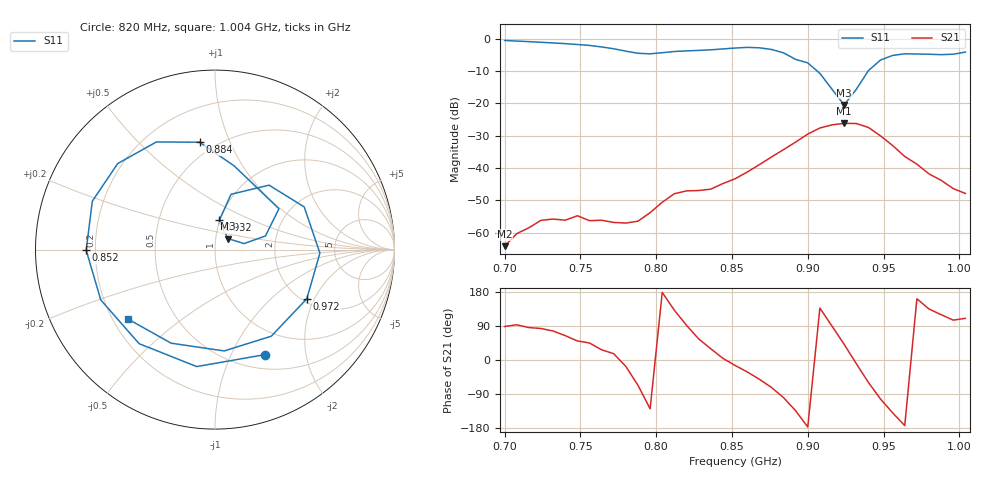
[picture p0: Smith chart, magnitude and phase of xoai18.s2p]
# Hz S RI R 50
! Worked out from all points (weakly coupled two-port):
!   39 points, 700 MHz to 1.004 GHz, reference 50 ohm
!   highest |S21| = -26.17 dB at 924 MHz (marker M1); lowest = -64.2 dB at 700 MHz (marker M2)
!   lowest |S11| = -20.5 dB at 924 MHz (marker M3), VSWR 1.21, Z = 57.3 + j7.08 ohm
!   |S11| at or under -10 dB: 906.2 MHz to 939.8 MHz (33.58 MHz wide, 3.64 % of centre)
!   S12 and S22 are empty: the file has one direction only
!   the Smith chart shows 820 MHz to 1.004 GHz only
!   S11 on the Smith chart (normalised r, x): 820 MHz: 0.67, -1.36; 852 MHz: 0.16, -0.00; 884 MHz: 0.41, +0.78; 932 MHz: 0.99, +0.33; 972 MHz: 2.12, -1.75; 1.004 GHz: 0.26, -0.33
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7e8  0.7578 0.5559  1.7e-05 0.000619  0 0  0 0
7.24e8  0.846 -0.2459  0.000186 0.00154  0 0  0 0
7.4e8  0.4584 -0.703  0.00068 0.00141  0 0  0 0
7.56e8  -0.1902 -0.7639  0.00109 0.00108  0 0  0 0
7.72e8  -0.6698 -0.2016  0.00138 0.000412  0 0  0 0
7.8e8  -0.6013 0.2236  0.00135 -0.000414  0 0  0 0
7.88e8  -0.2526 0.539  0.000595 -0.00139  0 0  0 0
7.96e8  0.239 0.5323  -0.00128 -0.00159  0 0  0 0
8.04e8  0.5792 0.1842  -0.00296 8.51e-05  0 0  0 0
8.2e8  0.2796 -0.585  -0.000121 0.00443  0 0  0 0
8.36e8  -0.423 -0.524  0.0041 0.00233  0 0  0 0
8.52e8  -0.7175 -0.00396  0.00661 -0.00168  0 0  0 0
8.68e8  -0.5422 0.4793  0.00715 -0.0087  0 0  0 0
8.84e8  -0.0861 0.5983  -0.00309 -0.019  0 0  0 0
9e8  0.3563 0.2277  -0.0335 -0.00186  0 0  0 0
9.08e8  0.2812 0.076  -0.0304 0.0284  0 0  0 0
9.24e8  0.072 0.0612  0.0368 0.0325  0 0  0 0
9.32e8  0.0237 0.1628  0.0482 -0.008  0 0  0 0
9.56e8  0.497 0.2379  -0.0169 -0.0145  0 0  0 0
9.72e8  0.5115 -0.2739  -0.0109 0.00364  0 0  0 0
9.88e8  0.0512 -0.5646  -0.00318 0.00562  0 0  0 0
1.004e9  -0.4863 -0.3861  -0.00138 0.0038  0 0  0 0
